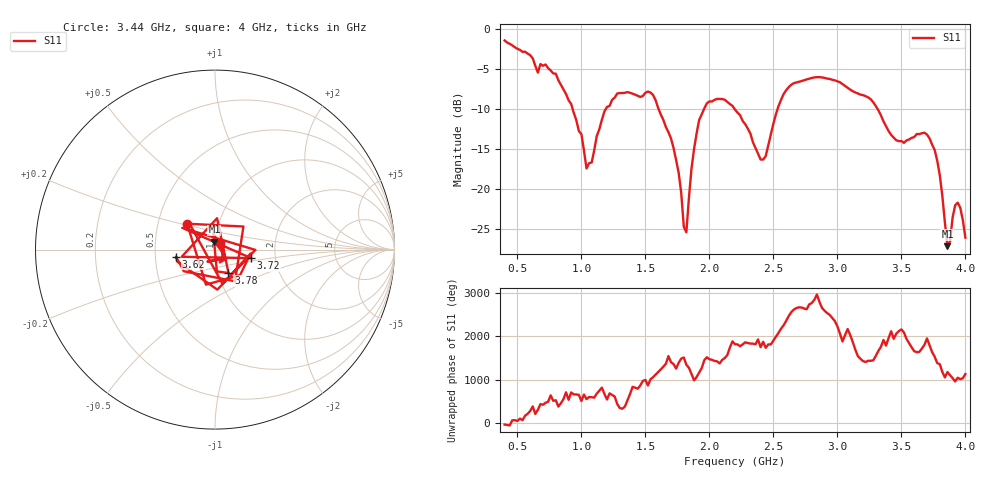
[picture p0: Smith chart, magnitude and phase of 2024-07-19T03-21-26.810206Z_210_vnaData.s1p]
!Created with skrf (http://scikit-rf.org).
# Hz S RI R 50.0
!freq ReS11 ImS11
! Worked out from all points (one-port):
!   181 points, 400 MHz to 4 GHz, reference 50 ohm
!   lowest |S11| = -27.1 dB at 3.86 GHz (marker M1), VSWR 1.09, Z = 49.5 + j4.34 ohm
!   |S11| at or under -10 dB: 1.603 GHz to 1.958 GHz (354.8 MHz wide, 19.9 % of centre); 2.197 GHz to 2.533 GHz (335.3 MHz wide, 14.2 % of centre); 3.314 GHz to end of sweep (the widest 3 of 4)
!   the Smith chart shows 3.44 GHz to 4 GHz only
!   S11 on the Smith chart (normalised r, x): 3.44 GHz: 0.71, +0.21; 3.62 GHz: 0.64, -0.05; 3.72 GHz: 1.50, -0.15; 3.78 GHz: 1.12, -0.30; 4 GHz: 1.06, +0.08
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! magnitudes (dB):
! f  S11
! 400 MHz  -1.4
! 860 MHz  -7.6
! 1 GHz  -13.1
! 1.04 GHz  -17.4
! 1.18 GHz  -10.3
! 1.3 GHz  -8.0
! 1.56 GHz  -8.2
! 1.7 GHz  -13.7
! 1.76 GHz  -18.0
! 1.8 GHz  -24.7
! 1.82 GHz  -25.4
! 1.86 GHz  -17.4
! 1.92 GHz  -11.3
! 2.06 GHz  -8.7
! 2.2 GHz  -10.1
! 2.42 GHz  -16.3
! 2.56 GHz  -8.8
! 2.66 GHz  -6.8
! 3.1 GHz  -7.6
! 3.26 GHz  -8.8
! 3.44 GHz  -13.6
! 3.56 GHz  -13.8
! 3.62 GHz  -13.1
! 3.72 GHz  -13.7
! 3.78 GHz  -16.4
! 3.86 GHz  -27.1
! 3.94 GHz  -21.7
! 4 GHz  -26.1
